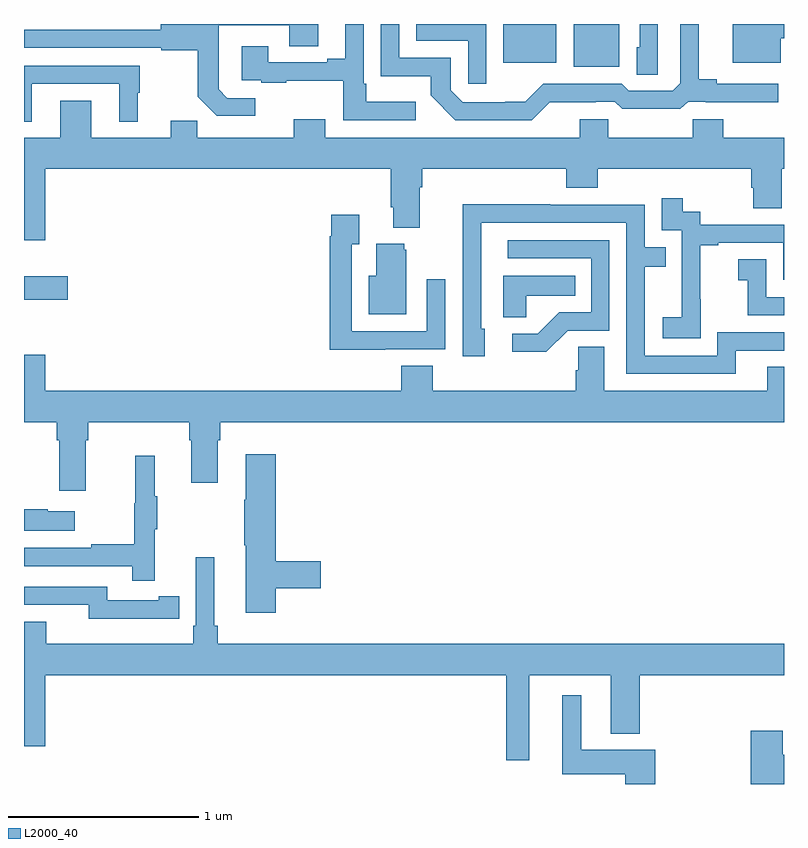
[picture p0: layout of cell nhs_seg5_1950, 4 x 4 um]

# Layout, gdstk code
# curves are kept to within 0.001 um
import gdstk
lib = gdstk.Library(unit=1e-6, precision=1e-09)
def R(c, l, rs):  # rectangles x0, y0, x1, y1
    for r in rs: c.add(gdstk.rectangle(r[:2], r[2:], *l))
def P(c, l, *ps):  # polygons
    for p in ps: c.add(gdstk.Polygon(p, *l))
L2000_40 = (2000, 40)

nhs_seg5_1950 = lib.new_cell('nhs_seg5_1950')
R(nhs_seg5_1950, L2000_40, [(225,913.349,225.229,913.471), (227.894,914.573,228.133,914.799), (227.522,914.594,227.8,914.799)])
P(nhs_seg5_1950, L2000_40, [(228.336,914.799),(228.24,914.799),(228.24,914.676),(228.224,914.676),(228.224,914.533),(228.336,914.533)],
  [(227.433,914.799),(227.064,914.799),(227.064,914.712),(227.337,914.712),(227.337,914.484),(227.433,914.484)],
  [(226.216,914.409),(226.071,914.409),(226.024,914.456),(226.024,914.551),(226.026,914.551),(226.026,914.792),(226.397,914.792),(226.397,914.683),(226.549,914.683),(226.549,914.799),(225.719,914.799),(225.719,914.769),(225,914.77),(225,914.673),(225.723,914.673),(225.723,914.661),(225.915,914.661),(225.915,914.415),(226.015,914.315),(226.216,914.315)],
  [(227.062,914.389),(226.801,914.389),(226.801,914.485),(226.788,914.485),(226.788,914.799),(226.691,914.799),(226.691,914.617),(226.595,914.617),(226.595,914.598),(226.285,914.598),(226.285,914.683),(226.145,914.683),(226.145,914.502),(226.249,914.502),(226.249,914.49),(226.381,914.49),(226.381,914.501),(226.68,914.501),(226.68,914.292),(227.062,914.292)],
  [(227.768,914.387),(228.008,914.387),(228.008,914.391),(228.108,914.391),(228.148,914.352),(228.455,914.352),(228.495,914.391),(228.589,914.391),(228.589,914.387),(228.97,914.387),(228.97,914.484),(228.646,914.484),(228.646,914.507),(228.551,914.507),(228.551,914.799),(228.453,914.799),(228.453,914.487),(228.414,914.448),(228.183,914.448),(228.147,914.484),(227.733,914.484),(227.639,914.39),(227.534,914.39),(227.534,914.388),(227.31,914.388),(227.247,914.451),(227.247,914.622),(226.974,914.622),(226.974,914.799),(226.878,914.799),(226.878,914.525),(227.14,914.525),(227.14,914.423),(227.27,914.292),(227.673,914.292)],
  [(228.982,914.723),(229,914.723),(229,914.799),(228.731,914.799),(228.731,914.594),(228.982,914.594)],
  [(225.04,914.484),(225.5,914.484),(225.5,914.285),(225.598,914.285),(225.598,914.436),(225.61,914.436),(225.61,914.58),(225,914.58),(225,914.285),(225.04,914.285)],
  [(226.931,913.834),(226.943,913.834),(226.943,913.727),(227.083,913.727),(227.083,913.94),(227.096,913.94),(227.096,914.036),(227.855,914.036),(227.855,913.937),(228.02,913.937),(228.02,914.036),(228.827,914.036),(228.827,913.938),(228.839,913.938),(228.839,913.828),(228.987,913.828),(228.987,914.036),(229,914.036),(229,914.2),(228.68,914.2),(228.68,914.298),(228.52,914.298),(228.52,914.2),(228.075,914.2),(228.075,914.298),(227.924,914.298),(227.924,914.2),(226.585,914.2),(226.585,914.299),(226.421,914.299),(226.421,914.2),(225.911,914.2),(225.911,914.291),(225.773,914.291),(225.773,914.2),(225.355,914.2),(225.355,914.395),(225.191,914.395),(225.191,914.2),(225,914.2),(225,913.662),(225.112,913.662),(225.112,914.036),(226.931,914.036)],
  [(228.561,913.351),(228.56,913.351),(228.56,913.635),(228.655,913.635),(228.655,913.647),(228.996,913.647),(228.996,913.452),(229,913.452),(229,913.743),(228.558,913.743),(228.558,913.812),(228.466,913.812),(228.466,913.882),(228.357,913.882),(228.357,913.713),(228.462,913.713),(228.462,913.484),(228.461,913.484),(228.461,913.255),(228.363,913.255),(228.363,913.145),(228.561,913.145)],
  [(228.745,913.08),(229,913.08),(229,913.176),(228.648,913.176),(228.648,913.053),(228.267,913.053),(228.267,913.522),(228.377,913.522),(228.377,913.623),(228.267,913.623),(228.267,913.848),(227.771,913.848),(227.771,913.85),(227.308,913.85),(227.308,913.543),(227.31,913.543),(227.31,913.05),(227.425,913.05),(227.425,913.194),(227.406,913.194),(227.406,913.752),(228.171,913.752),(228.171,912.957),(228.745,912.957)],
  [(226.901,913.086),(227.217,913.086),(227.217,913.456),(227.121,913.456),(227.121,913.182),(226.725,913.182),(226.725,913.639),(226.765,913.639),(226.765,913.795),(226.617,913.795),(226.617,913.682),(226.609,913.682),(226.609,913.085),(226.901,913.085)],
  [(227.862,913.185),(228.081,913.185),(228.081,913.662),(227.547,913.662),(227.547,913.566),(227.985,913.566),(227.985,913.281),(227.816,913.281),(227.705,913.17),(227.571,913.17),(227.571,913.073),(227.749,913.073)],
  [(227.011,913.611),(227,913.611),(227,913.642),(226.853,913.642),(226.853,913.474),(226.814,913.474),(226.814,913.271),(227.011,913.271)],
  [(229,913.362),(228.906,913.362),(228.906,913.561),(228.759,913.561),(228.759,913.451),(228.808,913.451),(228.808,913.266),(229,913.266)],
  [(227.643,913.37),(227.9,913.37),(227.9,913.474),(227.522,913.474),(227.522,913.255),(227.643,913.255)],
  [(225,913.057),(225,912.704),(225.173,912.704),(225.173,912.608),(225.185,912.608),(225.185,912.342),(225.325,912.342),(225.325,912.608),(225.338,912.608),(225.338,912.704),(225.869,912.704),(225.869,912.608),(225.881,912.608),(225.881,912.384),(226.021,912.384),(226.021,912.608),(226.034,912.608),(226.034,912.704),(229,912.704),(229,912.995),(228.911,912.995),(228.911,912.868),(228.055,912.868),(228.055,913.1),(227.916,913.1),(227.916,912.977),(227.903,912.977),(227.903,912.868),(227.15,912.868),(227.15,913.001),(226.985,913.001),(226.985,912.868),(225.112,912.868),(225.112,913.057)],
  [(226.325,911.83),(226.561,911.83),(226.561,911.972),(226.325,911.972),(226.325,912.535),(226.166,912.535),(226.166,912.296),(226.159,912.296),(226.159,912.055),(226.166,912.055),(226.166,911.7),(226.325,911.7)],
  [(225.689,912.139),(225.7,912.139),(225.7,912.313),(225.689,912.313),(225.689,912.526),(225.586,912.526),(225.586,912.276),(225.579,912.276),(225.579,912.062),(225.355,912.062),(225.355,912.042),(225,912.042),(225,911.946),(225.571,911.946),(225.571,911.868),(225.689,911.868)],
  [(225.268,912.235),(225.125,912.235),(225.125,912.245),(225,912.245),(225,912.131),(225.268,912.131)],
  [(227.659,911.372),(228.089,911.372),(228.089,911.063),(228.242,911.063),(228.242,911.372),(229,911.372),(229,911.536),(226.019,911.536),(226.019,911.632),(226,911.632),(226,911.992),(225.903,911.992),(225.903,911.632),(225.89,911.632),(225.89,911.536),(225.118,911.536),(225.118,911.653),(225,911.653),(225,910.998),(225.112,910.998),(225.112,911.372),(227.538,911.372),(227.538,910.923),(227.659,910.923)],
  [(225.71,911.67),(225.818,911.67),(225.818,911.786),(225.71,911.786),(225.71,911.766),(225.438,911.766),(225.438,911.838),(225,911.838),(225,911.742),(225.342,911.742),(225.342,911.669),(225.71,911.669)],
  [(228.323,910.978),(227.932,910.978),(227.932,911.266),(227.834,911.266),(227.834,910.85),(228.164,910.85),(228.164,910.799),(228.323,910.799)],
  [(229,910.952),(228.994,910.952),(228.994,911.08),(228.824,911.08),(228.824,910.799),(229,910.799)])

lib.write_gds('nhs_seg5_1950.gds')
